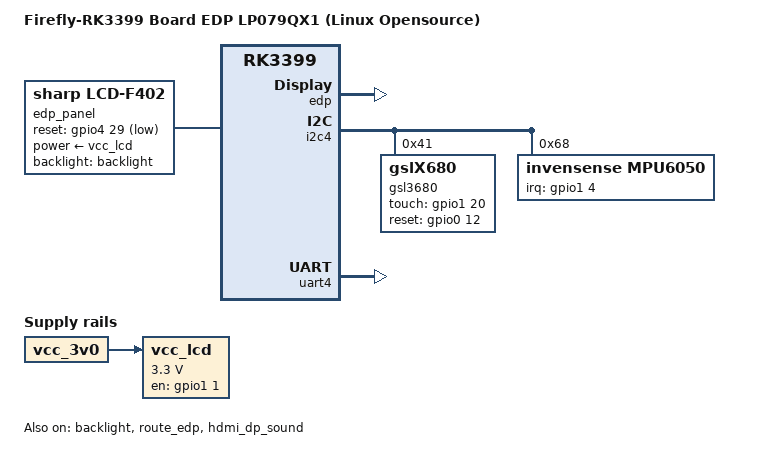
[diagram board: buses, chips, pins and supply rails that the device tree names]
/*
 * Copyright (c) 2016 Fuzhou Rockchip Electronics Co., Ltd
 *
 * This file is dual-licensed: you can use it either under the terms
 * of the GPL or the X11 license, at your option. Note that this dual
 * licensing only applies to this file, and not this project as a
 * whole.
 *
 *  a) This file is free software; you can redistribute it and/or
 *     modify it under the terms of the GNU General Public License as
 *     published by the Free Software Foundation; either version 2 of the
 *     License, or (at your option) any later version.
 *
 *     This file is distributed in the hope that it will be useful,
 *     but WITHOUT ANY WARRANTY; without even the implied warranty of
 *     MERCHANTABILITY or FITNESS FOR A PARTICULAR PURPOSE.  See the
 *     GNU General Public License for more details.
 *
 * Or, alternatively,
 *
 *  b) Permission is hereby granted, free of charge, to any person
 *     obtaining a copy of this software and associated documentation
 *     files (the "Software"), to deal in the Software without
 *     restriction, including without limitation the rights to use,
 *     copy, modify, merge, publish, distribute, sublicense, and/or
 *     sell copies of the Software, and to permit persons to whom the
 *     Software is furnished to do so, subject to the following
 *     conditions:
 *
 *     The above copyright notice and this permission notice shall be
 *     included in all copies or substantial portions of the Software.
 *
 *     THE SOFTWARE IS PROVIDED "AS IS", WITHOUT WARRANTY OF ANY KIND,
 *     EXPRESS OR IMPLIED, INCLUDING BUT NOT LIMITED TO THE WARRANTIES
 *     OF MERCHANTABILITY, FITNESS FOR A PARTICULAR PURPOSE AND
 *     NONINFRINGEMENT. IN NO EVENT SHALL THE AUTHORS OR COPYRIGHT
 *     HOLDERS BE LIABLE FOR ANY CLAIM, DAMAGES OR OTHER LIABILITY,
 *     WHETHER IN AN ACTION OF CONTRACT, TORT OR OTHERWISE, ARISING
 *     FROM, OUT OF OR IN CONNECTION WITH THE SOFTWARE OR THE USE OR
 *     OTHER DEALINGS IN THE SOFTWARE.
 */

/dts-v1/;

#include "rk3399-firefly-port.dtsi"

/ {
	model = "Firefly-RK3399 Board EDP LP079QX1 (Linux Opensource)";
	compatible = "rockchip,rk3399-firefly", "rockchip,rk3399";

	test-power {
		status = "okay";
	};

	vcc_lcd: vcc-lcd {
		compatible = "regulator-fixed";
		enable-active-high;
		gpio = <&gpio1 1 GPIO_ACTIVE_HIGH>;
		regulator-always-on;
		regulator-boot-on;
		regulator-name = "vcc_lcd";
		regulator-min-microvolt = <3300000>;
		regulator-max-microvolt = <3300000>;
		startup-delay-us = <20000>;
		vin-supply = <&vcc_3v0>;
	};
};

&backlight {
    status = "okay";
};

&edp_panel {
	compatible = "sharp,lcd-f402", "panel-simple";
	backlight = <&backlight>;
	power-supply = <&vcc_lcd>;
	reset-gpios = <&gpio4 29 GPIO_ACTIVE_LOW>;
	status = "okay";
};

&edp {
	status = "okay";
};

&route_edp {
	status = "okay";
	logo,mode = "center";
};

&edp_in_vopl {
	status = "disabled";
};

&hdmi_dp_sound {
	status = "okay";
};

&i2c4 {
	status = "okay";

	gsl3680: gsl3680@41 {
		status = "okay";
		compatible = "gslX680";
		reg = <0x41>;
		screen_max_x = <1536>;
		screen_max_y = <2048>;
		touch-gpio = <&gpio1 20 IRQ_TYPE_LEVEL_LOW>;
		reset-gpio = <&gpio0 12 GPIO_ACTIVE_HIGH>;
	};

	mpu6050: mpu@68 {
		status = "okay";
		compatible = "invensense,mpu6050";
		reg = <0x68>;
		irq-gpio = <&gpio1 4 IRQ_TYPE_LEVEL_LOW>;
		mpu-debug = <1>;
		mpu-int_config = <0x10>;
		mpu-level_shifter = <0>;
		mpu-orientation = <0 1 0 1 0 0 0 0 1>;
		orientation-x= <1>;
		orientation-y= <1>;
		orientation-z= <1>;
	};
};

&uart4 {
	status = "okay";
};

&dp_in_vopb {
	status = "disabled";
};

&hdmi_in_vopb {
	status = "disabled";
};

&wdt {
	status = "disabled";
};
